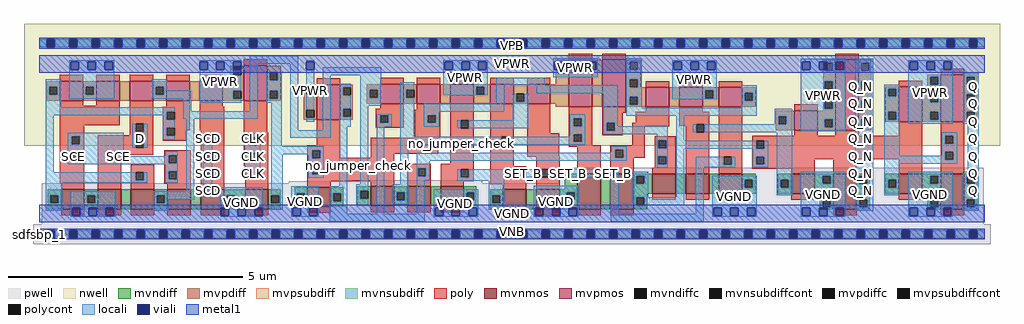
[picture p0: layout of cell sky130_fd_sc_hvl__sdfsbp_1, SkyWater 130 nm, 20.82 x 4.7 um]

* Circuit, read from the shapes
.subckt sky130_fd_sc_hvl__sdfsbp_1 CLK D SCD SCE SET_B VGND VNB VPB VPWR Q Q_N
XM1 VGND SCE n1 VNB sky130_fd_pr__nfet_g5v0d10v5 w=0.42 l=0.5
XM2 n2 D VGND VNB sky130_fd_pr__nfet_g5v0d10v5 w=0.42 l=0.5
XM3 n3 n1 n2 VNB sky130_fd_pr__nfet_g5v0d10v5 w=0.42 l=0.5
XM4 n4 SCE n3 VNB sky130_fd_pr__nfet_g5v0d10v5 w=0.42 l=0.5
XM5 VGND SCD n4 VNB sky130_fd_pr__nfet_g5v0d10v5 w=0.42 l=0.5
XM6 n5 CLK VGND VNB sky130_fd_pr__nfet_g5v0d10v5 w=0.42 l=0.5
XM7 n6 n5 VGND VNB sky130_fd_pr__nfet_g5v0d10v5 w=0.42 l=0.5
XM8 n7 n5 n3 VNB sky130_fd_pr__nfet_g5v0d10v5 w=0.42 l=0.5
XM9 n8 n6 n7 VNB sky130_fd_pr__nfet_g5v0d10v5 w=0.42 l=0.5
XM10 VGND n9 n8 VNB sky130_fd_pr__nfet_g5v0d10v5 w=0.42 l=0.5
XM11 n10 n7 n9 VNB sky130_fd_pr__nfet_g5v0d10v5 w=0.42 l=0.5
XM12 VGND SET_B n10 VNB sky130_fd_pr__nfet_g5v0d10v5 w=0.42 l=0.5
XM13 n11 n7 VGND VNB sky130_fd_pr__nfet_g5v0d10v5 w=0.75 l=0.5
XM14 n12 n6 n11 VNB sky130_fd_pr__nfet_g5v0d10v5 w=0.75 l=0.5
XM15 n13 n5 n12 VNB sky130_fd_pr__nfet_g5v0d10v5 w=0.42 l=0.5
XM16 n14 n15 n13 VNB sky130_fd_pr__nfet_g5v0d10v5 w=0.42 l=0.5
XM17 VGND SET_B n14 VNB sky130_fd_pr__nfet_g5v0d10v5 w=0.42 l=0.5
XM18 VGND n12 n15 VNB sky130_fd_pr__nfet_g5v0d10v5 w=0.42 l=0.5
XM19 Q_N n12 VGND VNB sky130_fd_pr__nfet_g5v0d10v5 w=0.75 l=0.5
XM20 VGND n12 n16 VNB sky130_fd_pr__nfet_g5v0d10v5 w=0.42 l=0.5
XM21 Q n16 VGND VNB sky130_fd_pr__nfet_g5v0d10v5 w=0.75 l=0.5
XM22 VPWR SCE n1 VPB sky130_fd_pr__pfet_g5v0d10v5 w=0.42 l=0.5
XM23 n17 SCE VPWR VPB sky130_fd_pr__pfet_g5v0d10v5 w=0.42 l=0.5
XM24 n3 D n17 VPB sky130_fd_pr__pfet_g5v0d10v5 w=0.42 l=0.5
XM25 n18 n1 n3 VPB sky130_fd_pr__pfet_g5v0d10v5 w=0.42 l=0.5
XM26 VPWR SCD n18 VPB sky130_fd_pr__pfet_g5v0d10v5 w=0.42 l=0.5
XM27 n5 CLK VPWR VPB sky130_fd_pr__pfet_g5v0d10v5 w=0.75 l=0.5
XM28 n6 n5 VPWR VPB sky130_fd_pr__pfet_g5v0d10v5 w=0.75 l=0.5
XM29 n7 n6 n3 VPB sky130_fd_pr__pfet_g5v0d10v5 w=0.42 l=0.5
XM30 n19 n5 n7 VPB sky130_fd_pr__pfet_g5v0d10v5 w=0.42 l=0.5
XM31 VPWR n9 n19 VPB sky130_fd_pr__pfet_g5v0d10v5 w=0.42 l=0.5
XM32 n9 n7 VPWR VPB sky130_fd_pr__pfet_g5v0d10v5 w=0.42 l=0.5
XM33 VPWR SET_B n9 VPB sky130_fd_pr__pfet_g5v0d10v5 w=0.42 l=0.5
XM34 n20 n7 VPWR VPB sky130_fd_pr__pfet_g5v0d10v5 w=1 l=0.5
XM35 n12 n5 n20 VPB sky130_fd_pr__pfet_g5v0d10v5 w=1 l=0.5
XM36 n21 n6 n12 VPB sky130_fd_pr__pfet_g5v0d10v5 w=0.42 l=0.5
XM37 VPWR n15 n21 VPB sky130_fd_pr__pfet_g5v0d10v5 w=0.42 l=0.5
XM38 n12 SET_B VPWR VPB sky130_fd_pr__pfet_g5v0d10v5 w=0.42 l=0.5
XM39 VPWR n12 n15 VPB sky130_fd_pr__pfet_g5v0d10v5 w=0.42 l=0.5
XM40 Q_N n12 VPWR VPB sky130_fd_pr__pfet_g5v0d10v5 w=1.5 l=0.5
XM41 VPWR n12 n16 VPB sky130_fd_pr__pfet_g5v0d10v5 w=0.75 l=0.5
XM42 Q n16 VPWR VPB sky130_fd_pr__pfet_g5v0d10v5 w=1 l=0.5
.ends

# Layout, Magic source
magic
tech sky130A
magscale 1 2
<< nwell >>
rect -66 377 4098 897
<< pwell >>
rect 1330 226 1890 230
rect 1064 217 1890 226
rect 2215 217 4028 283
rect 9 43 4028 217
rect -26 -43 4058 43
<< mvnmos >>
rect 92 107 192 191
rect 248 107 348 191
rect 390 107 490 191
rect 546 107 646 191
rect 688 107 788 191
rect 877 107 977 191
rect 1143 116 1243 200
rect 1413 120 1513 204
rect 1569 120 1669 204
rect 1711 120 1811 204
rect 1977 107 2077 191
rect 2119 107 2219 191
rect 2294 107 2394 257
rect 2436 107 2536 257
rect 2615 173 2715 257
rect 2757 173 2857 257
rect 2899 173 2999 257
rect 3207 173 3307 257
rect 3386 107 3486 257
rect 3666 173 3766 257
rect 3845 107 3945 257
<< mvpmos >>
rect 87 569 187 653
rect 243 569 343 653
rect 385 569 485 653
rect 541 569 641 653
rect 683 569 783 653
rect 872 569 972 719
rect 1184 488 1284 638
rect 1454 556 1554 640
rect 1610 556 1710 640
rect 1752 556 1852 640
rect 1924 556 2024 640
rect 2080 556 2180 640
rect 2259 543 2359 743
rect 2401 543 2501 743
rect 2587 543 2687 627
rect 2729 543 2829 627
rect 2899 543 2999 627
rect 3221 443 3321 527
rect 3396 443 3496 743
rect 3666 479 3766 629
rect 3845 479 3945 679
<< mvndiff >>
rect 35 166 92 191
rect 35 132 47 166
rect 81 132 92 166
rect 35 107 92 132
rect 192 166 248 191
rect 192 132 203 166
rect 237 132 248 166
rect 192 107 248 132
rect 348 107 390 191
rect 490 166 546 191
rect 490 132 501 166
rect 535 132 546 166
rect 490 107 546 132
rect 646 107 688 191
rect 788 166 877 191
rect 788 132 799 166
rect 833 132 877 166
rect 788 107 877 132
rect 977 166 1030 191
rect 977 132 988 166
rect 1022 132 1030 166
rect 977 107 1030 132
rect 1090 175 1143 200
rect 1090 141 1098 175
rect 1132 141 1143 175
rect 1090 116 1143 141
rect 1243 175 1296 200
rect 1243 141 1254 175
rect 1288 141 1296 175
rect 1243 116 1296 141
rect 1356 184 1413 204
rect 1356 150 1368 184
rect 1402 150 1413 184
rect 1356 120 1413 150
rect 1513 179 1569 204
rect 1513 145 1524 179
rect 1558 145 1569 179
rect 1513 120 1569 145
rect 1669 120 1711 204
rect 1811 179 1864 204
rect 2241 191 2294 257
rect 1811 145 1822 179
rect 1856 145 1864 179
rect 1811 120 1864 145
rect 1924 166 1977 191
rect 1924 132 1932 166
rect 1966 132 1977 166
rect 1924 107 1977 132
rect 2077 107 2119 191
rect 2219 179 2294 191
rect 2219 145 2249 179
rect 2283 145 2294 179
rect 2219 107 2294 145
rect 2394 107 2436 257
rect 2536 249 2615 257
rect 2536 215 2547 249
rect 2581 215 2615 249
rect 2536 173 2615 215
rect 2715 173 2757 257
rect 2857 173 2899 257
rect 2999 232 3056 257
rect 2999 198 3010 232
rect 3044 198 3056 232
rect 2999 173 3056 198
rect 3150 232 3207 257
rect 3150 198 3162 232
rect 3196 198 3207 232
rect 3150 173 3207 198
rect 3307 249 3386 257
rect 3307 215 3341 249
rect 3375 215 3386 249
rect 3307 173 3386 215
rect 2536 157 2593 173
rect 2536 123 2547 157
rect 2581 123 2593 157
rect 3329 149 3386 173
rect 2536 107 2593 123
rect 3329 115 3341 149
rect 3375 115 3386 149
rect 3329 107 3386 115
rect 3486 249 3543 257
rect 3486 215 3497 249
rect 3531 215 3543 249
rect 3486 149 3543 215
rect 3609 232 3666 257
rect 3609 198 3621 232
rect 3655 198 3666 232
rect 3609 173 3666 198
rect 3766 249 3845 257
rect 3766 215 3800 249
rect 3834 215 3845 249
rect 3766 173 3845 215
rect 3486 115 3497 149
rect 3531 115 3543 149
rect 3788 149 3845 173
rect 3486 107 3543 115
rect 3788 115 3800 149
rect 3834 115 3845 149
rect 3788 107 3845 115
rect 3945 249 4002 257
rect 3945 215 3956 249
rect 3990 215 4002 249
rect 3945 149 4002 215
rect 3945 115 3956 149
rect 3990 115 4002 149
rect 3945 107 4002 115
<< mvpdiff >>
rect 2202 719 2259 743
rect 815 711 872 719
rect 815 677 827 711
rect 861 677 872 711
rect 815 653 872 677
rect 30 628 87 653
rect 30 594 42 628
rect 76 594 87 628
rect 30 569 87 594
rect 187 628 243 653
rect 187 594 198 628
rect 232 594 243 628
rect 187 569 243 594
rect 343 569 385 653
rect 485 628 541 653
rect 485 594 496 628
rect 530 594 541 628
rect 485 569 541 594
rect 641 569 683 653
rect 783 611 872 653
rect 783 577 827 611
rect 861 577 872 611
rect 783 569 872 577
rect 972 691 1029 719
rect 972 657 983 691
rect 1017 657 1029 691
rect 2202 685 2214 719
rect 2248 685 2259 719
rect 972 611 1029 657
rect 2202 640 2259 685
rect 972 577 983 611
rect 1017 577 1029 611
rect 972 569 1029 577
rect 1127 630 1184 638
rect 1127 596 1139 630
rect 1173 596 1184 630
rect 1127 530 1184 596
rect 1127 496 1139 530
rect 1173 496 1184 530
rect 1127 488 1184 496
rect 1284 626 1337 638
rect 1284 592 1295 626
rect 1329 592 1337 626
rect 1284 534 1337 592
rect 1397 615 1454 640
rect 1397 581 1409 615
rect 1443 581 1454 615
rect 1397 556 1454 581
rect 1554 615 1610 640
rect 1554 581 1565 615
rect 1599 581 1610 615
rect 1554 556 1610 581
rect 1710 556 1752 640
rect 1852 629 1924 640
rect 1852 595 1863 629
rect 1897 595 1924 629
rect 1852 556 1924 595
rect 2024 598 2080 640
rect 2024 564 2035 598
rect 2069 564 2080 598
rect 2024 556 2080 564
rect 2180 556 2259 640
rect 1284 500 1295 534
rect 1329 500 1337 534
rect 1284 488 1337 500
rect 2202 543 2259 556
rect 2359 543 2401 743
rect 2501 735 2565 743
rect 2501 701 2519 735
rect 2553 701 2565 735
rect 2501 660 2565 701
rect 2501 626 2519 660
rect 2553 627 2565 660
rect 3343 731 3396 743
rect 3343 697 3351 731
rect 3385 697 3396 731
rect 3343 651 3396 697
rect 2553 626 2587 627
rect 2501 585 2587 626
rect 2501 551 2519 585
rect 2553 551 2587 585
rect 2501 543 2587 551
rect 2687 543 2729 627
rect 2829 614 2899 627
rect 2829 580 2840 614
rect 2874 580 2899 614
rect 2829 543 2899 580
rect 2999 602 3056 627
rect 2999 568 3010 602
rect 3044 568 3056 602
rect 2999 543 3056 568
rect 3343 617 3351 651
rect 3385 617 3396 651
rect 3343 569 3396 617
rect 3343 535 3351 569
rect 3385 535 3396 569
rect 3343 527 3396 535
rect 3141 502 3221 527
rect 3141 468 3153 502
rect 3187 468 3221 502
rect 3141 443 3221 468
rect 3321 489 3396 527
rect 3321 455 3351 489
rect 3385 455 3396 489
rect 3321 443 3396 455
rect 3496 731 3549 743
rect 3496 697 3507 731
rect 3541 697 3549 731
rect 3496 651 3549 697
rect 3788 671 3845 679
rect 3496 617 3507 651
rect 3541 617 3549 651
rect 3788 637 3800 671
rect 3834 637 3845 671
rect 3788 629 3845 637
rect 3496 569 3549 617
rect 3496 535 3507 569
rect 3541 535 3549 569
rect 3496 489 3549 535
rect 3496 455 3507 489
rect 3541 455 3549 489
rect 3609 621 3666 629
rect 3609 587 3621 621
rect 3655 587 3666 621
rect 3609 521 3666 587
rect 3609 487 3621 521
rect 3655 487 3666 521
rect 3609 479 3666 487
rect 3766 596 3845 629
rect 3766 562 3800 596
rect 3834 562 3845 596
rect 3766 521 3845 562
rect 3766 487 3800 521
rect 3834 487 3845 521
rect 3766 479 3845 487
rect 3945 671 4002 679
rect 3945 637 3956 671
rect 3990 637 4002 671
rect 3945 596 4002 637
rect 3945 562 3956 596
rect 3990 562 4002 596
rect 3945 521 4002 562
rect 3945 487 3956 521
rect 3990 487 4002 521
rect 3945 479 4002 487
rect 3496 443 3549 455
<< mvndiffc >>
rect 47 132 81 166
rect 203 132 237 166
rect 501 132 535 166
rect 799 132 833 166
rect 988 132 1022 166
rect 1098 141 1132 175
rect 1254 141 1288 175
rect 1368 150 1402 184
rect 1524 145 1558 179
rect 1822 145 1856 179
rect 1932 132 1966 166
rect 2249 145 2283 179
rect 2547 215 2581 249
rect 3010 198 3044 232
rect 3162 198 3196 232
rect 3341 215 3375 249
rect 2547 123 2581 157
rect 3341 115 3375 149
rect 3497 215 3531 249
rect 3621 198 3655 232
rect 3800 215 3834 249
rect 3497 115 3531 149
rect 3800 115 3834 149
rect 3956 215 3990 249
rect 3956 115 3990 149
<< mvpdiffc >>
rect 827 677 861 711
rect 42 594 76 628
rect 198 594 232 628
rect 496 594 530 628
rect 827 577 861 611
rect 983 657 1017 691
rect 2214 685 2248 719
rect 983 577 1017 611
rect 1139 596 1173 630
rect 1139 496 1173 530
rect 1295 592 1329 626
rect 1409 581 1443 615
rect 1565 581 1599 615
rect 1863 595 1897 629
rect 2035 564 2069 598
rect 1295 500 1329 534
rect 2519 701 2553 735
rect 2519 626 2553 660
rect 3351 697 3385 731
rect 2519 551 2553 585
rect 2840 580 2874 614
rect 3010 568 3044 602
rect 3351 617 3385 651
rect 3351 535 3385 569
rect 3153 468 3187 502
rect 3351 455 3385 489
rect 3507 697 3541 731
rect 3507 617 3541 651
rect 3800 637 3834 671
rect 3507 535 3541 569
rect 3507 455 3541 489
rect 3621 587 3655 621
rect 3621 487 3655 521
rect 3800 562 3834 596
rect 3800 487 3834 521
rect 3956 637 3990 671
rect 3956 562 3990 596
rect 3956 487 3990 521
<< mvpsubdiff >>
rect 0 -17 31 17
rect 65 -17 127 17
rect 161 -17 223 17
rect 257 -17 319 17
rect 353 -17 415 17
rect 449 -17 511 17
rect 545 -17 607 17
rect 641 -17 703 17
rect 737 -17 799 17
rect 833 -17 895 17
rect 929 -17 991 17
rect 1025 -17 1087 17
rect 1121 -17 1183 17
rect 1217 -17 1279 17
rect 1313 -17 1375 17
rect 1409 -17 1471 17
rect 1505 -17 1567 17
rect 1601 -17 1663 17
rect 1697 -17 1759 17
rect 1793 -17 1855 17
rect 1889 -17 1951 17
rect 1985 -17 2047 17
rect 2081 -17 2143 17
rect 2177 -17 2239 17
rect 2273 -17 2335 17
rect 2369 -17 2431 17
rect 2465 -17 2527 17
rect 2561 -17 2623 17
rect 2657 -17 2719 17
rect 2753 -17 2815 17
rect 2849 -17 2911 17
rect 2945 -17 3007 17
rect 3041 -17 3103 17
rect 3137 -17 3199 17
rect 3233 -17 3295 17
rect 3329 -17 3391 17
rect 3425 -17 3487 17
rect 3521 -17 3583 17
rect 3617 -17 3679 17
rect 3713 -17 3775 17
rect 3809 -17 3871 17
rect 3905 -17 3967 17
rect 4001 -17 4032 17
<< mvnsubdiff >>
rect 0 797 31 831
rect 65 797 127 831
rect 161 797 223 831
rect 257 797 319 831
rect 353 797 415 831
rect 449 797 511 831
rect 545 797 607 831
rect 641 797 703 831
rect 737 797 799 831
rect 833 797 895 831
rect 929 797 991 831
rect 1025 797 1087 831
rect 1121 797 1183 831
rect 1217 797 1279 831
rect 1313 797 1375 831
rect 1409 797 1471 831
rect 1505 797 1567 831
rect 1601 797 1663 831
rect 1697 797 1759 831
rect 1793 797 1855 831
rect 1889 797 1951 831
rect 1985 797 2047 831
rect 2081 797 2143 831
rect 2177 797 2239 831
rect 2273 797 2335 831
rect 2369 797 2431 831
rect 2465 797 2527 831
rect 2561 797 2623 831
rect 2657 797 2719 831
rect 2753 797 2815 831
rect 2849 797 2911 831
rect 2945 797 3007 831
rect 3041 797 3103 831
rect 3137 797 3199 831
rect 3233 797 3295 831
rect 3329 797 3391 831
rect 3425 797 3487 831
rect 3521 797 3583 831
rect 3617 797 3679 831
rect 3713 797 3775 831
rect 3809 797 3871 831
rect 3905 797 3967 831
rect 4001 797 4032 831
<< mvpsubdiffcont >>
rect 31 -17 65 17
rect 127 -17 161 17
rect 223 -17 257 17
rect 319 -17 353 17
rect 415 -17 449 17
rect 511 -17 545 17
rect 607 -17 641 17
rect 703 -17 737 17
rect 799 -17 833 17
rect 895 -17 929 17
rect 991 -17 1025 17
rect 1087 -17 1121 17
rect 1183 -17 1217 17
rect 1279 -17 1313 17
rect 1375 -17 1409 17
rect 1471 -17 1505 17
rect 1567 -17 1601 17
rect 1663 -17 1697 17
rect 1759 -17 1793 17
rect 1855 -17 1889 17
rect 1951 -17 1985 17
rect 2047 -17 2081 17
rect 2143 -17 2177 17
rect 2239 -17 2273 17
rect 2335 -17 2369 17
rect 2431 -17 2465 17
rect 2527 -17 2561 17
rect 2623 -17 2657 17
rect 2719 -17 2753 17
rect 2815 -17 2849 17
rect 2911 -17 2945 17
rect 3007 -17 3041 17
rect 3103 -17 3137 17
rect 3199 -17 3233 17
rect 3295 -17 3329 17
rect 3391 -17 3425 17
rect 3487 -17 3521 17
rect 3583 -17 3617 17
rect 3679 -17 3713 17
rect 3775 -17 3809 17
rect 3871 -17 3905 17
rect 3967 -17 4001 17
<< mvnsubdiffcont >>
rect 31 797 65 831
rect 127 797 161 831
rect 223 797 257 831
rect 319 797 353 831
rect 415 797 449 831
rect 511 797 545 831
rect 607 797 641 831
rect 703 797 737 831
rect 799 797 833 831
rect 895 797 929 831
rect 991 797 1025 831
rect 1087 797 1121 831
rect 1183 797 1217 831
rect 1279 797 1313 831
rect 1375 797 1409 831
rect 1471 797 1505 831
rect 1567 797 1601 831
rect 1663 797 1697 831
rect 1759 797 1793 831
rect 1855 797 1889 831
rect 1951 797 1985 831
rect 2047 797 2081 831
rect 2143 797 2177 831
rect 2239 797 2273 831
rect 2335 797 2369 831
rect 2431 797 2465 831
rect 2527 797 2561 831
rect 2623 797 2657 831
rect 2719 797 2753 831
rect 2815 797 2849 831
rect 2911 797 2945 831
rect 3007 797 3041 831
rect 3103 797 3137 831
rect 3199 797 3233 831
rect 3295 797 3329 831
rect 3391 797 3425 831
rect 3487 797 3521 831
rect 3583 797 3617 831
rect 3679 797 3713 831
rect 3775 797 3809 831
rect 3871 797 3905 831
rect 3967 797 4001 831
<< poly >>
rect 872 719 972 745
rect 2259 743 2359 769
rect 2401 743 2501 769
rect 3396 743 3496 769
rect 87 653 187 679
rect 243 653 343 679
rect 385 653 485 679
rect 541 653 641 679
rect 683 653 783 679
rect 1184 638 1284 664
rect 1454 640 1554 666
rect 1610 640 1710 666
rect 1752 640 1852 666
rect 1924 640 2024 666
rect 2080 640 2180 666
rect 87 547 187 569
rect 243 547 343 569
rect 87 464 343 547
rect 385 471 485 569
rect 541 543 641 569
rect 87 417 192 464
rect 385 437 411 471
rect 445 437 485 471
rect 385 422 485 437
rect 87 383 138 417
rect 172 383 192 417
rect 87 349 192 383
rect 87 315 138 349
rect 172 315 192 349
rect 87 217 192 315
rect 92 191 192 217
rect 248 403 485 422
rect 248 369 411 403
rect 445 369 485 403
rect 527 521 641 543
rect 527 487 543 521
rect 577 487 641 521
rect 527 453 641 487
rect 527 419 543 453
rect 577 443 641 453
rect 683 543 783 569
rect 683 443 788 543
rect 577 419 627 443
rect 527 399 627 419
rect 248 338 485 369
rect 248 191 348 338
rect 532 337 646 357
rect 532 303 552 337
rect 586 303 646 337
rect 390 263 490 296
rect 390 229 410 263
rect 444 229 490 263
rect 390 191 490 229
rect 532 269 646 303
rect 532 235 552 269
rect 586 235 646 269
rect 532 215 646 235
rect 546 191 646 215
rect 688 339 788 443
rect 688 305 704 339
rect 738 305 788 339
rect 688 271 788 305
rect 872 434 972 569
rect 1454 534 1554 556
rect 1434 508 1554 534
rect 1610 530 1710 556
rect 872 414 977 434
rect 872 380 892 414
rect 926 380 977 414
rect 872 346 977 380
rect 1184 378 1284 488
rect 1434 474 1454 508
rect 1488 474 1554 508
rect 1434 454 1554 474
rect 1602 508 1710 530
rect 1602 474 1656 508
rect 1690 474 1710 508
rect 1602 412 1710 474
rect 1752 486 1852 556
rect 1752 452 1798 486
rect 1832 452 1852 486
rect 872 312 892 346
rect 926 312 977 346
rect 872 292 977 312
rect 688 237 704 271
rect 738 237 788 271
rect 688 191 788 237
rect 877 191 977 292
rect 1143 358 1284 378
rect 1143 324 1163 358
rect 1197 326 1284 358
rect 1413 342 1702 412
rect 1413 326 1513 342
rect 1197 324 1513 326
rect 1143 290 1513 324
rect 1752 300 1852 452
rect 1143 256 1163 290
rect 1197 256 1513 290
rect 1143 226 1513 256
rect 1143 200 1243 226
rect 1413 204 1513 226
rect 1569 280 1669 300
rect 1569 246 1615 280
rect 1649 246 1669 280
rect 1569 204 1669 246
rect 1711 276 1852 300
rect 1711 242 1798 276
rect 1832 242 1852 276
rect 1711 226 1852 242
rect 1924 416 2024 556
rect 1924 382 1970 416
rect 2004 382 2024 416
rect 1924 289 2024 382
rect 2080 431 2180 556
rect 2587 627 2687 653
rect 2729 627 2829 653
rect 2899 627 2999 653
rect 2259 495 2359 543
rect 2259 461 2279 495
rect 2313 461 2359 495
rect 2080 331 2217 431
rect 2259 427 2359 461
rect 2259 393 2279 427
rect 2313 393 2359 427
rect 2401 517 2501 543
rect 2587 521 2687 543
rect 2401 475 2488 517
rect 2543 475 2687 521
rect 2401 441 2421 475
rect 2455 441 2488 475
rect 2401 421 2488 441
rect 2530 459 2687 475
rect 2729 521 2829 543
rect 2729 469 2857 521
rect 2729 463 2803 469
rect 2259 379 2359 393
rect 2530 379 2582 459
rect 2757 435 2803 463
rect 2837 435 2857 469
rect 2259 373 2394 379
rect 1711 204 1811 226
rect 1924 213 2077 289
rect 1977 191 2077 213
rect 2119 276 2219 331
rect 2119 242 2139 276
rect 2173 242 2219 276
rect 2294 257 2394 373
rect 2436 359 2582 379
rect 2436 325 2456 359
rect 2490 325 2582 359
rect 2624 401 2715 417
rect 2624 367 2640 401
rect 2674 367 2715 401
rect 2624 333 2715 367
rect 2436 257 2536 325
rect 2624 299 2640 333
rect 2674 299 2715 333
rect 2624 283 2715 299
rect 2615 257 2715 283
rect 2757 257 2857 435
rect 2899 329 2999 543
rect 3221 527 3321 553
rect 3845 679 3945 705
rect 3666 629 3766 655
rect 3221 419 3321 443
rect 3396 419 3496 443
rect 3666 419 3766 479
rect 2899 295 2919 329
rect 2953 295 2999 329
rect 2899 257 2999 295
rect 3041 399 3766 419
rect 3041 365 3059 399
rect 3093 365 3766 399
rect 3041 331 3766 365
rect 3041 297 3059 331
rect 3093 319 3766 331
rect 3093 297 3307 319
rect 3041 279 3307 297
rect 3207 257 3307 279
rect 3386 257 3486 319
rect 3666 257 3766 319
rect 3845 419 3945 479
rect 3845 385 3865 419
rect 3899 385 3945 419
rect 3845 351 3945 385
rect 3845 317 3865 351
rect 3899 317 3945 351
rect 3845 257 3945 317
rect 2119 191 2219 242
rect 92 81 192 107
rect 248 81 348 107
rect 390 81 490 107
rect 546 81 646 107
rect 688 81 788 107
rect 877 81 977 107
rect 1143 90 1243 116
rect 1413 94 1513 120
rect 1569 94 1669 120
rect 1711 94 1811 120
rect 2615 147 2715 173
rect 2757 147 2857 173
rect 2899 147 2999 173
rect 3207 147 3307 173
rect 3666 147 3766 173
rect 1977 81 2077 107
rect 2119 81 2219 107
rect 2294 81 2394 107
rect 2436 81 2536 107
rect 3386 81 3486 107
rect 3845 81 3945 107
<< polycont >>
rect 411 437 445 471
rect 138 383 172 417
rect 138 315 172 349
rect 411 369 445 403
rect 543 487 577 521
rect 543 419 577 453
rect 552 303 586 337
rect 410 229 444 263
rect 552 235 586 269
rect 704 305 738 339
rect 892 380 926 414
rect 1454 474 1488 508
rect 1656 474 1690 508
rect 1798 452 1832 486
rect 892 312 926 346
rect 704 237 738 271
rect 1163 324 1197 358
rect 1163 256 1197 290
rect 1615 246 1649 280
rect 1798 242 1832 276
rect 1970 382 2004 416
rect 2279 461 2313 495
rect 2279 393 2313 427
rect 2421 441 2455 475
rect 2803 435 2837 469
rect 2139 242 2173 276
rect 2456 325 2490 359
rect 2640 367 2674 401
rect 2640 299 2674 333
rect 2919 295 2953 329
rect 3059 365 3093 399
rect 3059 297 3093 331
rect 3865 385 3899 419
rect 3865 317 3899 351
<< locali >>
rect 0 797 31 831
rect 65 797 127 831
rect 161 797 223 831
rect 257 797 319 831
rect 353 797 415 831
rect 449 797 511 831
rect 545 797 607 831
rect 641 797 703 831
rect 737 797 799 831
rect 833 797 895 831
rect 929 797 991 831
rect 1025 797 1087 831
rect 1121 797 1183 831
rect 1217 797 1279 831
rect 1313 797 1375 831
rect 1409 797 1471 831
rect 1505 797 1567 831
rect 1601 797 1663 831
rect 1697 797 1759 831
rect 1793 797 1855 831
rect 1889 797 1951 831
rect 1985 797 2047 831
rect 2081 797 2143 831
rect 2177 797 2239 831
rect 2273 797 2335 831
rect 2369 797 2431 831
rect 2465 797 2527 831
rect 2561 797 2623 831
rect 2657 797 2719 831
rect 2753 797 2815 831
rect 2849 797 2911 831
rect 2945 797 3007 831
rect 3041 797 3103 831
rect 3137 797 3199 831
rect 3233 797 3295 831
rect 3329 797 3391 831
rect 3425 797 3487 831
rect 3521 797 3583 831
rect 3617 797 3679 831
rect 3713 797 3775 831
rect 3809 797 3871 831
rect 3905 797 3967 831
rect 4001 797 4032 831
rect 128 735 318 741
rect 128 701 134 735
rect 168 701 206 735
rect 240 701 278 735
rect 312 701 318 735
rect 26 628 92 661
rect 26 594 42 628
rect 76 594 92 628
rect 26 541 92 594
rect 128 628 318 701
rect 683 735 861 741
rect 717 701 755 735
rect 789 701 827 735
rect 683 677 827 701
rect 128 594 198 628
rect 232 594 318 628
rect 128 577 318 594
rect 480 628 546 661
rect 480 594 496 628
rect 530 611 546 628
rect 683 611 861 677
rect 530 594 647 611
rect 480 577 647 594
rect 26 521 577 541
rect 26 507 543 521
rect 26 263 60 507
rect 527 487 543 507
rect 613 525 647 577
rect 683 577 827 611
rect 683 561 861 577
rect 897 727 1103 761
rect 897 525 931 727
rect 967 657 983 691
rect 1017 657 1033 691
rect 967 611 1033 657
rect 967 577 983 611
rect 1017 577 1033 611
rect 967 561 1033 577
rect 613 491 931 525
rect 395 437 411 471
rect 445 437 461 471
rect 121 417 359 433
rect 121 383 138 417
rect 172 383 359 417
rect 121 349 359 383
rect 395 403 461 437
rect 527 453 577 487
rect 527 419 543 453
rect 527 403 577 419
rect 395 369 411 403
rect 445 369 461 403
rect 121 315 138 349
rect 172 333 359 349
rect 536 337 591 353
rect 536 333 552 337
rect 172 315 552 333
rect 121 303 552 315
rect 586 303 591 337
rect 121 299 591 303
rect 536 269 591 299
rect 26 229 410 263
rect 444 229 460 263
rect 26 219 460 229
rect 536 235 552 269
rect 586 235 591 269
rect 536 219 591 235
rect 26 166 97 219
rect 627 183 661 491
rect 26 132 47 166
rect 81 132 97 166
rect 26 99 97 132
rect 133 166 323 183
rect 133 132 203 166
rect 237 132 323 166
rect 133 113 323 132
rect 133 79 139 113
rect 173 79 211 113
rect 245 79 283 113
rect 317 79 323 113
rect 485 166 661 183
rect 485 132 501 166
rect 535 149 661 166
rect 697 339 738 430
rect 697 305 704 339
rect 697 271 738 305
rect 697 237 704 271
rect 697 162 738 237
rect 876 414 942 430
rect 876 380 892 414
rect 926 380 942 414
rect 876 346 942 380
rect 876 312 892 346
rect 926 312 942 346
rect 876 236 942 312
rect 988 374 1033 561
rect 1069 444 1103 727
rect 1139 735 1173 741
rect 1723 735 1913 741
rect 1139 630 1173 701
rect 1139 530 1173 596
rect 1139 480 1173 496
rect 1209 678 1459 712
rect 1209 444 1243 678
rect 1069 410 1243 444
rect 1279 626 1329 642
rect 1279 592 1295 626
rect 1279 534 1329 592
rect 1279 500 1295 534
rect 1279 458 1329 500
rect 1368 615 1459 678
rect 1723 701 1729 735
rect 1763 701 1801 735
rect 1835 701 1873 735
rect 1907 701 1913 735
rect 1368 581 1409 615
rect 1443 581 1459 615
rect 1368 548 1459 581
rect 1540 615 1599 648
rect 1540 581 1565 615
rect 1723 629 1913 701
rect 2191 735 2381 751
rect 2191 701 2197 735
rect 2231 719 2269 735
rect 2248 701 2269 719
rect 2303 701 2341 735
rect 2375 701 2381 735
rect 2191 685 2214 701
rect 2248 685 2381 701
rect 2191 670 2381 685
rect 2503 735 2569 751
rect 2503 701 2519 735
rect 2553 701 2569 735
rect 1723 595 1863 629
rect 1897 595 1913 629
rect 1723 592 1913 595
rect 1949 634 2155 668
rect 2503 660 2569 701
rect 988 358 1213 374
rect 988 340 1163 358
rect 774 166 952 199
rect 535 132 551 149
rect 485 99 551 132
rect 774 132 799 166
rect 833 132 952 166
rect 774 113 952 132
rect 133 73 323 79
rect 808 79 846 113
rect 880 79 918 113
rect 988 166 1038 340
rect 1147 324 1163 340
rect 1197 324 1213 358
rect 1147 290 1213 324
rect 1147 256 1163 290
rect 1197 256 1213 290
rect 1147 240 1213 256
rect 1279 204 1313 458
rect 1368 212 1402 548
rect 1022 132 1038 166
rect 988 103 1038 132
rect 1074 175 1192 204
rect 1074 141 1098 175
rect 1132 141 1192 175
rect 1074 113 1192 141
rect 774 73 952 79
rect 1074 79 1080 113
rect 1114 79 1152 113
rect 1186 79 1192 113
rect 1074 73 1192 79
rect 1238 175 1313 204
rect 1238 141 1254 175
rect 1288 141 1313 175
rect 1238 87 1313 141
rect 1352 184 1402 212
rect 1352 150 1368 184
rect 1352 123 1402 150
rect 1438 508 1504 512
rect 1438 474 1454 508
rect 1488 474 1504 508
rect 1438 458 1504 474
rect 1438 87 1472 458
rect 1540 416 1599 581
rect 1949 556 1983 634
rect 2121 600 2467 634
rect 1640 522 1983 556
rect 2019 564 2035 598
rect 2069 564 2085 598
rect 1640 508 1706 522
rect 1640 474 1656 508
rect 1690 474 1706 508
rect 2019 486 2085 564
rect 1640 458 1706 474
rect 1782 452 1798 486
rect 1832 452 2085 486
rect 2263 495 2329 511
rect 2263 461 2279 495
rect 2313 461 2329 495
rect 2263 427 2329 461
rect 2263 416 2279 427
rect 1540 382 1970 416
rect 2004 393 2279 416
rect 2313 393 2329 427
rect 2405 475 2467 600
rect 2503 626 2519 660
rect 2553 626 2569 660
rect 2503 585 2569 626
rect 2503 551 2519 585
rect 2553 551 2569 585
rect 2700 735 2890 741
rect 2700 701 2706 735
rect 2740 701 2778 735
rect 2812 701 2850 735
rect 2884 701 2890 735
rect 2700 614 2890 701
rect 3248 735 3438 747
rect 3248 701 3254 735
rect 3288 701 3326 735
rect 3360 731 3398 735
rect 3385 701 3398 731
rect 3432 701 3438 735
rect 3248 697 3351 701
rect 3385 697 3438 701
rect 3248 651 3438 697
rect 2700 580 2840 614
rect 2874 580 2890 614
rect 2700 575 2890 580
rect 2994 602 3060 635
rect 2503 539 2569 551
rect 2994 568 3010 602
rect 3044 568 3060 602
rect 2994 539 3060 568
rect 2503 505 3060 539
rect 3248 617 3351 651
rect 3385 617 3438 651
rect 3248 569 3438 617
rect 3248 535 3351 569
rect 3385 535 3438 569
rect 2405 441 2421 475
rect 2455 459 2467 475
rect 2455 441 2681 459
rect 2405 425 2681 441
rect 2004 382 2329 393
rect 2633 401 2681 425
rect 1540 212 1574 382
rect 2440 359 2506 375
rect 2440 346 2456 359
rect 1508 179 1574 212
rect 1508 145 1524 179
rect 1558 145 1574 179
rect 1508 128 1574 145
rect 1610 325 2456 346
rect 2490 325 2506 359
rect 1610 312 2506 325
rect 2633 367 2640 401
rect 2674 367 2681 401
rect 2633 333 2681 367
rect 1610 280 1665 312
rect 2633 299 2640 333
rect 2674 299 2681 333
rect 2633 283 2681 299
rect 2717 399 2751 505
rect 3137 502 3212 535
rect 3137 469 3153 502
rect 2787 435 2803 469
rect 2837 468 3153 469
rect 3187 468 3212 502
rect 2837 435 3212 468
rect 3248 489 3438 535
rect 3248 455 3351 489
rect 3385 455 3438 489
rect 3248 439 3438 455
rect 3481 731 3557 747
rect 3481 697 3507 731
rect 3541 697 3557 731
rect 3481 651 3557 697
rect 3481 617 3507 651
rect 3541 617 3557 651
rect 3707 735 3897 741
rect 3707 701 3713 735
rect 3747 701 3785 735
rect 3819 701 3857 735
rect 3891 701 3897 735
rect 3707 671 3897 701
rect 3707 637 3800 671
rect 3834 637 3897 671
rect 3481 569 3557 617
rect 3481 535 3507 569
rect 3541 535 3557 569
rect 3481 489 3557 535
rect 3481 455 3507 489
rect 3541 455 3557 489
rect 2717 365 3059 399
rect 3093 365 3109 399
rect 1610 246 1615 280
rect 1649 246 1665 280
rect 1610 230 1665 246
rect 1782 242 1798 276
rect 1832 242 1982 276
rect 2041 242 2139 276
rect 2173 242 2471 276
rect 1610 87 1644 230
rect 1782 228 1982 242
rect 1238 53 1644 87
rect 1682 179 1872 192
rect 1682 145 1822 179
rect 1856 145 1872 179
rect 1682 113 1872 145
rect 1682 79 1688 113
rect 1722 79 1760 113
rect 1794 79 1832 113
rect 1866 79 1872 113
rect 1916 166 1982 228
rect 1916 132 1932 166
rect 1966 132 1982 166
rect 1916 103 1982 132
rect 2109 179 2299 206
rect 2109 145 2249 179
rect 2283 145 2299 179
rect 2109 113 2299 145
rect 1682 73 1872 79
rect 2109 79 2115 113
rect 2149 79 2187 113
rect 2221 79 2259 113
rect 2293 79 2299 113
rect 2109 73 2299 79
rect 2437 87 2471 242
rect 2531 249 2597 265
rect 2531 215 2547 249
rect 2581 215 2597 249
rect 2531 157 2597 215
rect 2717 157 2751 365
rect 3043 331 3109 365
rect 2531 123 2547 157
rect 2581 123 2751 157
rect 2800 295 2919 329
rect 2953 295 2969 329
rect 2800 285 2969 295
rect 3043 297 3059 331
rect 3093 297 3109 331
rect 3043 285 3109 297
rect 2800 87 2834 285
rect 2437 53 2834 87
rect 2870 232 3060 249
rect 2870 198 3010 232
rect 3044 198 3060 232
rect 2870 113 3060 198
rect 3146 232 3212 435
rect 3146 198 3162 232
rect 3196 198 3212 232
rect 3146 165 3212 198
rect 3248 249 3438 265
rect 3248 215 3341 249
rect 3375 215 3438 249
rect 2870 79 2876 113
rect 2910 79 2948 113
rect 2982 79 3020 113
rect 3054 79 3060 113
rect 2870 73 3060 79
rect 3248 149 3438 215
rect 3248 115 3341 149
rect 3375 115 3438 149
rect 3248 113 3438 115
rect 3248 79 3254 113
rect 3288 79 3326 113
rect 3360 79 3398 113
rect 3432 79 3438 113
rect 3481 249 3557 455
rect 3481 215 3497 249
rect 3531 215 3557 249
rect 3481 149 3557 215
rect 3605 621 3671 637
rect 3605 587 3621 621
rect 3655 587 3671 621
rect 3605 521 3671 587
rect 3605 487 3621 521
rect 3655 487 3671 521
rect 3605 335 3671 487
rect 3707 596 3897 637
rect 3707 562 3800 596
rect 3834 562 3897 596
rect 3707 521 3897 562
rect 3707 487 3800 521
rect 3834 487 3897 521
rect 3707 471 3897 487
rect 3940 671 4007 687
rect 3940 637 3956 671
rect 3990 637 4007 671
rect 3940 596 4007 637
rect 3940 562 3956 596
rect 3990 562 4007 596
rect 3940 521 4007 562
rect 3940 487 3956 521
rect 3990 487 4007 521
rect 3940 471 4007 487
rect 3849 419 3915 435
rect 3849 385 3865 419
rect 3899 385 3915 419
rect 3849 351 3915 385
rect 3849 335 3865 351
rect 3605 317 3865 335
rect 3899 317 3915 351
rect 3605 301 3915 317
rect 3605 232 3671 301
rect 3961 265 4007 471
rect 3605 198 3621 232
rect 3655 198 3671 232
rect 3605 165 3671 198
rect 3707 249 3897 265
rect 3707 215 3800 249
rect 3834 215 3897 249
rect 3481 115 3497 149
rect 3531 115 3557 149
rect 3481 99 3557 115
rect 3707 149 3897 215
rect 3707 115 3800 149
rect 3834 115 3897 149
rect 3707 113 3897 115
rect 3248 73 3438 79
rect 3707 79 3713 113
rect 3747 79 3785 113
rect 3819 79 3857 113
rect 3891 79 3897 113
rect 3940 249 4007 265
rect 3940 215 3956 249
rect 3990 215 4007 249
rect 3940 149 4007 215
rect 3940 115 3956 149
rect 3990 115 4007 149
rect 3940 99 4007 115
rect 3707 73 3897 79
rect 0 -17 31 17
rect 65 -17 127 17
rect 161 -17 223 17
rect 257 -17 319 17
rect 353 -17 415 17
rect 449 -17 511 17
rect 545 -17 607 17
rect 641 -17 703 17
rect 737 -17 799 17
rect 833 -17 895 17
rect 929 -17 991 17
rect 1025 -17 1087 17
rect 1121 -17 1183 17
rect 1217 -17 1279 17
rect 1313 -17 1375 17
rect 1409 -17 1471 17
rect 1505 -17 1567 17
rect 1601 -17 1663 17
rect 1697 -17 1759 17
rect 1793 -17 1855 17
rect 1889 -17 1951 17
rect 1985 -17 2047 17
rect 2081 -17 2143 17
rect 2177 -17 2239 17
rect 2273 -17 2335 17
rect 2369 -17 2431 17
rect 2465 -17 2527 17
rect 2561 -17 2623 17
rect 2657 -17 2719 17
rect 2753 -17 2815 17
rect 2849 -17 2911 17
rect 2945 -17 3007 17
rect 3041 -17 3103 17
rect 3137 -17 3199 17
rect 3233 -17 3295 17
rect 3329 -17 3391 17
rect 3425 -17 3487 17
rect 3521 -17 3583 17
rect 3617 -17 3679 17
rect 3713 -17 3775 17
rect 3809 -17 3871 17
rect 3905 -17 3967 17
rect 4001 -17 4032 17
<< viali >>
rect 31 797 65 831
rect 127 797 161 831
rect 223 797 257 831
rect 319 797 353 831
rect 415 797 449 831
rect 511 797 545 831
rect 607 797 641 831
rect 703 797 737 831
rect 799 797 833 831
rect 895 797 929 831
rect 991 797 1025 831
rect 1087 797 1121 831
rect 1183 797 1217 831
rect 1279 797 1313 831
rect 1375 797 1409 831
rect 1471 797 1505 831
rect 1567 797 1601 831
rect 1663 797 1697 831
rect 1759 797 1793 831
rect 1855 797 1889 831
rect 1951 797 1985 831
rect 2047 797 2081 831
rect 2143 797 2177 831
rect 2239 797 2273 831
rect 2335 797 2369 831
rect 2431 797 2465 831
rect 2527 797 2561 831
rect 2623 797 2657 831
rect 2719 797 2753 831
rect 2815 797 2849 831
rect 2911 797 2945 831
rect 3007 797 3041 831
rect 3103 797 3137 831
rect 3199 797 3233 831
rect 3295 797 3329 831
rect 3391 797 3425 831
rect 3487 797 3521 831
rect 3583 797 3617 831
rect 3679 797 3713 831
rect 3775 797 3809 831
rect 3871 797 3905 831
rect 3967 797 4001 831
rect 134 701 168 735
rect 206 701 240 735
rect 278 701 312 735
rect 683 701 717 735
rect 755 701 789 735
rect 827 711 861 735
rect 827 701 861 711
rect 139 79 173 113
rect 211 79 245 113
rect 283 79 317 113
rect 1139 701 1173 735
rect 1729 701 1763 735
rect 1801 701 1835 735
rect 1873 701 1907 735
rect 2197 719 2231 735
rect 2197 701 2214 719
rect 2214 701 2231 719
rect 2269 701 2303 735
rect 2341 701 2375 735
rect 774 79 808 113
rect 846 79 880 113
rect 918 79 952 113
rect 1080 79 1114 113
rect 1152 79 1186 113
rect 2706 701 2740 735
rect 2778 701 2812 735
rect 2850 701 2884 735
rect 3254 701 3288 735
rect 3326 731 3360 735
rect 3326 701 3351 731
rect 3351 701 3360 731
rect 3398 701 3432 735
rect 3713 701 3747 735
rect 3785 701 3819 735
rect 3857 701 3891 735
rect 1688 79 1722 113
rect 1760 79 1794 113
rect 1832 79 1866 113
rect 2115 79 2149 113
rect 2187 79 2221 113
rect 2259 79 2293 113
rect 2876 79 2910 113
rect 2948 79 2982 113
rect 3020 79 3054 113
rect 3254 79 3288 113
rect 3326 79 3360 113
rect 3398 79 3432 113
rect 3713 79 3747 113
rect 3785 79 3819 113
rect 3857 79 3891 113
rect 31 -17 65 17
rect 127 -17 161 17
rect 223 -17 257 17
rect 319 -17 353 17
rect 415 -17 449 17
rect 511 -17 545 17
rect 607 -17 641 17
rect 703 -17 737 17
rect 799 -17 833 17
rect 895 -17 929 17
rect 991 -17 1025 17
rect 1087 -17 1121 17
rect 1183 -17 1217 17
rect 1279 -17 1313 17
rect 1375 -17 1409 17
rect 1471 -17 1505 17
rect 1567 -17 1601 17
rect 1663 -17 1697 17
rect 1759 -17 1793 17
rect 1855 -17 1889 17
rect 1951 -17 1985 17
rect 2047 -17 2081 17
rect 2143 -17 2177 17
rect 2239 -17 2273 17
rect 2335 -17 2369 17
rect 2431 -17 2465 17
rect 2527 -17 2561 17
rect 2623 -17 2657 17
rect 2719 -17 2753 17
rect 2815 -17 2849 17
rect 2911 -17 2945 17
rect 3007 -17 3041 17
rect 3103 -17 3137 17
rect 3199 -17 3233 17
rect 3295 -17 3329 17
rect 3391 -17 3425 17
rect 3487 -17 3521 17
rect 3583 -17 3617 17
rect 3679 -17 3713 17
rect 3775 -17 3809 17
rect 3871 -17 3905 17
rect 3967 -17 4001 17
<< metal1 >>
rect 0 831 4032 837
rect 0 797 31 831
rect 65 797 127 831
rect 161 797 223 831
rect 257 797 319 831
rect 353 797 415 831
rect 449 797 511 831
rect 545 797 607 831
rect 641 797 703 831
rect 737 797 799 831
rect 833 797 895 831
rect 929 797 991 831
rect 1025 797 1087 831
rect 1121 797 1183 831
rect 1217 797 1279 831
rect 1313 797 1375 831
rect 1409 797 1471 831
rect 1505 797 1567 831
rect 1601 797 1663 831
rect 1697 797 1759 831
rect 1793 797 1855 831
rect 1889 797 1951 831
rect 1985 797 2047 831
rect 2081 797 2143 831
rect 2177 797 2239 831
rect 2273 797 2335 831
rect 2369 797 2431 831
rect 2465 797 2527 831
rect 2561 797 2623 831
rect 2657 797 2719 831
rect 2753 797 2815 831
rect 2849 797 2911 831
rect 2945 797 3007 831
rect 3041 797 3103 831
rect 3137 797 3199 831
rect 3233 797 3295 831
rect 3329 797 3391 831
rect 3425 797 3487 831
rect 3521 797 3583 831
rect 3617 797 3679 831
rect 3713 797 3775 831
rect 3809 797 3871 831
rect 3905 797 3967 831
rect 4001 797 4032 831
rect 0 791 4032 797
rect 0 735 4032 763
rect 0 701 134 735
rect 168 701 206 735
rect 240 701 278 735
rect 312 701 683 735
rect 717 701 755 735
rect 789 701 827 735
rect 861 701 1139 735
rect 1173 701 1729 735
rect 1763 701 1801 735
rect 1835 701 1873 735
rect 1907 701 2197 735
rect 2231 701 2269 735
rect 2303 701 2341 735
rect 2375 701 2706 735
rect 2740 701 2778 735
rect 2812 701 2850 735
rect 2884 701 3254 735
rect 3288 701 3326 735
rect 3360 701 3398 735
rect 3432 701 3713 735
rect 3747 701 3785 735
rect 3819 701 3857 735
rect 3891 701 4032 735
rect 0 689 4032 701
rect 0 113 4032 125
rect 0 79 139 113
rect 173 79 211 113
rect 245 79 283 113
rect 317 79 774 113
rect 808 79 846 113
rect 880 79 918 113
rect 952 79 1080 113
rect 1114 79 1152 113
rect 1186 79 1688 113
rect 1722 79 1760 113
rect 1794 79 1832 113
rect 1866 79 2115 113
rect 2149 79 2187 113
rect 2221 79 2259 113
rect 2293 79 2876 113
rect 2910 79 2948 113
rect 2982 79 3020 113
rect 3054 79 3254 113
rect 3288 79 3326 113
rect 3360 79 3398 113
rect 3432 79 3713 113
rect 3747 79 3785 113
rect 3819 79 3857 113
rect 3891 79 4032 113
rect 0 51 4032 79
rect 0 17 4032 23
rect 0 -17 31 17
rect 65 -17 127 17
rect 161 -17 223 17
rect 257 -17 319 17
rect 353 -17 415 17
rect 449 -17 511 17
rect 545 -17 607 17
rect 641 -17 703 17
rect 737 -17 799 17
rect 833 -17 895 17
rect 929 -17 991 17
rect 1025 -17 1087 17
rect 1121 -17 1183 17
rect 1217 -17 1279 17
rect 1313 -17 1375 17
rect 1409 -17 1471 17
rect 1505 -17 1567 17
rect 1601 -17 1663 17
rect 1697 -17 1759 17
rect 1793 -17 1855 17
rect 1889 -17 1951 17
rect 1985 -17 2047 17
rect 2081 -17 2143 17
rect 2177 -17 2239 17
rect 2273 -17 2335 17
rect 2369 -17 2431 17
rect 2465 -17 2527 17
rect 2561 -17 2623 17
rect 2657 -17 2719 17
rect 2753 -17 2815 17
rect 2849 -17 2911 17
rect 2945 -17 3007 17
rect 3041 -17 3103 17
rect 3137 -17 3199 17
rect 3233 -17 3295 17
rect 3329 -17 3391 17
rect 3425 -17 3487 17
rect 3521 -17 3583 17
rect 3617 -17 3679 17
rect 3713 -17 3775 17
rect 3809 -17 3871 17
rect 3905 -17 3967 17
rect 4001 -17 4032 17
rect 0 -23 4032 -17
<< labels >>
flabel comment s 1799 386 1799 386 0 FreeSans 200 90 0 0 no_jumper_check
flabel comment s 1363 291 1363 291 0 FreeSans 200 0 0 0 no_jumper_check
rlabel comment s 0 0 0 0 4 sdfsbp_1
flabel metal1 s 0 51 4032 125 0 FreeSans 340 0 0 0 VGND
port 6 nsew ground bidirectional
flabel metal1 s 0 0 4032 23 0 FreeSans 340 0 0 0 VNB
port 7 nsew ground bidirectional
flabel metal1 s 0 689 4032 763 0 FreeSans 340 0 0 0 VPWR
port 9 nsew power bidirectional
flabel metal1 s 0 791 4032 814 0 FreeSans 340 0 0 0 VPB
port 8 nsew power bidirectional
flabel locali s 703 168 737 202 0 FreeSans 340 0 0 0 SCD
port 3 nsew signal input
flabel locali s 703 242 737 276 0 FreeSans 340 0 0 0 SCD
port 3 nsew signal input
flabel locali s 703 316 737 350 0 FreeSans 340 0 0 0 SCD
port 3 nsew signal input
flabel locali s 703 390 737 424 0 FreeSans 340 0 0 0 SCD
port 3 nsew signal input
flabel locali s 415 390 449 424 0 FreeSans 340 0 0 0 D
port 2 nsew signal input
flabel locali s 895 242 929 276 0 FreeSans 340 0 0 0 CLK
port 1 nsew clock input
flabel locali s 895 316 929 350 0 FreeSans 340 0 0 0 CLK
port 1 nsew clock input
flabel locali s 895 390 929 424 0 FreeSans 340 0 0 0 CLK
port 1 nsew clock input
flabel locali s 127 316 161 350 0 FreeSans 340 0 0 0 SCE
port 4 nsew signal input
flabel locali s 223 316 257 350 0 FreeSans 340 0 0 0 SCE
port 4 nsew signal input
flabel locali s 319 316 353 350 0 FreeSans 340 0 0 0 SCE
port 4 nsew signal input
flabel locali s 3967 168 4001 202 0 FreeSans 340 0 0 0 Q
port 10 nsew signal output
flabel locali s 3967 242 4001 276 0 FreeSans 340 0 0 0 Q
port 10 nsew signal output
flabel locali s 3967 316 4001 350 0 FreeSans 340 0 0 0 Q
port 10 nsew signal output
flabel locali s 3967 390 4001 424 0 FreeSans 340 0 0 0 Q
port 10 nsew signal output
flabel locali s 3967 464 4001 498 0 FreeSans 340 0 0 0 Q
port 10 nsew signal output
flabel locali s 3967 538 4001 572 0 FreeSans 340 0 0 0 Q
port 10 nsew signal output
flabel locali s 3967 612 4001 646 0 FreeSans 340 0 0 0 Q
port 10 nsew signal output
flabel locali s 3487 168 3521 202 0 FreeSans 340 0 0 0 Q_N
port 11 nsew signal output
flabel locali s 3487 242 3521 276 0 FreeSans 340 0 0 0 Q_N
port 11 nsew signal output
flabel locali s 3487 316 3521 350 0 FreeSans 340 0 0 0 Q_N
port 11 nsew signal output
flabel locali s 3487 390 3521 424 0 FreeSans 340 0 0 0 Q_N
port 11 nsew signal output
flabel locali s 3487 464 3521 498 0 FreeSans 340 0 0 0 Q_N
port 11 nsew signal output
flabel locali s 3487 538 3521 572 0 FreeSans 340 0 0 0 Q_N
port 11 nsew signal output
flabel locali s 3487 612 3521 646 0 FreeSans 340 0 0 0 Q_N
port 11 nsew signal output
flabel locali s 2047 242 2081 276 0 FreeSans 340 0 0 0 SET_B
port 5 nsew signal input
flabel locali s 2143 242 2177 276 0 FreeSans 340 0 0 0 SET_B
port 5 nsew signal input
flabel locali s 2239 242 2273 276 0 FreeSans 340 0 0 0 SET_B
port 5 nsew signal input
flabel locali s 2335 242 2369 276 0 FreeSans 340 0 0 0 SET_B
port 5 nsew signal input
flabel locali s 2431 242 2465 276 0 FreeSans 340 0 0 0 SET_B
port 5 nsew signal input
rlabel locali s 2109 73 2299 206 1 VGND
port 6 nsew ground bidirectional
rlabel locali s 2870 73 3060 249 1 VGND
port 6 nsew ground bidirectional
rlabel locali s 3248 73 3438 265 1 VGND
port 6 nsew ground bidirectional
rlabel locali s 3707 73 3897 265 1 VGND
port 6 nsew ground bidirectional
rlabel locali s 774 73 952 199 1 VGND
port 6 nsew ground bidirectional
rlabel locali s 1074 73 1192 204 1 VGND
port 6 nsew ground bidirectional
rlabel locali s 1682 73 1872 192 1 VGND
port 6 nsew ground bidirectional
rlabel metal1 s 0 51 4032 125 1 VGND
port 6 nsew ground bidirectional
rlabel metal1 s 0 -23 4032 23 1 VNB
port 7 nsew ground bidirectional
rlabel metal1 s 0 791 4032 837 1 VPB
port 8 nsew power bidirectional
rlabel locali s 2191 670 2381 751 1 VPWR
port 9 nsew power bidirectional
rlabel locali s 2700 575 2890 741 1 VPWR
port 9 nsew power bidirectional
rlabel locali s 3248 439 3438 747 1 VPWR
port 9 nsew power bidirectional
rlabel locali s 3707 471 3897 741 1 VPWR
port 9 nsew power bidirectional
rlabel locali s 683 561 861 741 1 VPWR
port 9 nsew power bidirectional
rlabel locali s 1139 480 1173 741 1 VPWR
port 9 nsew power bidirectional
rlabel locali s 1723 592 1913 741 1 VPWR
port 9 nsew power bidirectional
rlabel metal1 s 0 689 4032 763 1 VPWR
port 9 nsew power bidirectional
<< properties >>
string FIXED_BBOX 0 0 4032 814
string GDS_END 570340
string GDS_FILE $PDKPATH/libs.ref/sky130_fd_sc_hvl/gds/sky130_fd_sc_hvl.gds
string GDS_START 531624
string LEFclass CORE
string LEFsite unithv
string LEFsymmetry X Y
<< end >>
